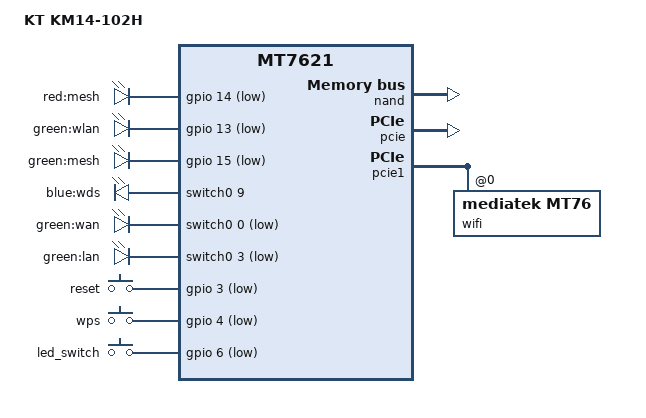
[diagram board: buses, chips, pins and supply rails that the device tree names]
// SPDX-License-Identifier: GPL-2.0-or-later OR MIT
/* Copyright (c) 2026, Mohammed baalawi <baalwy2009@gmail.com> */

#include "mt7621.dtsi"

#include <dt-bindings/gpio/gpio.h>
#include <dt-bindings/input/input.h>

/ {
	compatible = "kt,km14-102h", "mediatek,mt7621-soc";
	model = "KT KM14-102H";

	aliases {
		led-boot = &led_wds;
		led-failsafe = &led_wds;
		led-running = &led_wlan;
		led-upgrade = &led_power;
		label-mac-device = &gmac0;
	};

	chosen {
		bootargs = "console=ttyS0,115200";
	};

	leds {
		compatible = "gpio-leds";

		led_power: mesh_red {
			label = "red:mesh";
			gpios = <&gpio 14 GPIO_ACTIVE_LOW>;
			default-state = "on";
		};

		led_wlan: wlan {
			label = "green:wlan";
			gpios = <&gpio 13 GPIO_ACTIVE_LOW>;
			linux,default-trigger = "phy0radio";
		};

		mesh {
			label = "green:mesh";
			gpios = <&gpio 15 GPIO_ACTIVE_LOW>;
		};

		led_wds: wds {
			label = "blue:wds";
			gpios = <&switch0 9 GPIO_ACTIVE_HIGH>;
		};

		wan {
			label = "green:wan";
			gpios = <&switch0 0 GPIO_ACTIVE_LOW>;
			linux,default-trigger = "mt7530-0:00:link";
		};

		lan {
			label = "green:lan";
			gpios = <&switch0 3 GPIO_ACTIVE_LOW>;
			linux,default-trigger = "mt7530-0:01:link";
		};
	};

	keys {
		compatible = "gpio-keys";

		reset {
			label = "reset";
			gpios = <&gpio 3 GPIO_ACTIVE_LOW>;
			linux,code = <KEY_RESTART>;
		};

		wps {
			label = "wps";
			gpios = <&gpio 4 GPIO_ACTIVE_LOW>;
			linux,code = <KEY_WPS_BUTTON>;
		};

		led_switch {
			label = "led_switch";
			gpios = <&gpio 6 GPIO_ACTIVE_LOW>;
			linux,code = <0x21e>;
			linux,input-type = <0x5>;
		};
	};
};

&state_default {
	gpio {
		groups = "i2c", "jtag", "uart3", "wdt";
		function = "gpio";
	};
};

&gmac0 {
	nvmem-cells = <&macaddr_config_40004>;
	nvmem-cell-names = "mac-address";
};

&nand {
	status = "okay";

	mediatek,nmbm;

	partitions {
		compatible = "fixed-partitions";
		#address-cells = <1>;
		#size-cells = <1>;

		partition@0 {
			label = "Bootloader";
			reg = <0x0 0x80000>;
			read-only;
		};

		partition@80000 {
			label = "Config";
			reg = <0x80000 0x80000>;

			nvmem-layout {
				compatible = "fixed-layout";
				#address-cells = <1>;
				#size-cells = <1>;

				macaddr_config_40004: macaddr@40004 {
					reg = <0x40004 0x6>;
				};
			};
		};

		factory: partition@100000 {
			label = "Factory";
			reg = <0x100000 0x80000>;
		};

		partition@180000 {
			label = "kernel";
			reg = <0x180000 0x400000>;
		};

		partition@580000 {
			label = "ubi";
			reg = <0x580000 0x7280000>;
		};
	};
};

&pcie {
	status = "okay";
};

&pcie1 {
	wifi@0,0 {
		compatible = "mediatek,mt76";
		reg = <0x0000 0 0 0 0>;
    mediatek,mtd-eeprom = <&factory 0x0>;
		mediatek,disable-radar-background;
	};
};

&switch0 {
	gpio-controller;
	#gpio-cells = <2>;

	ports {
		port@0 {
			status = "okay";
			label = "wan";
		};

		port@1 {
			status = "okay";
			label = "lan";
		};
	};
};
